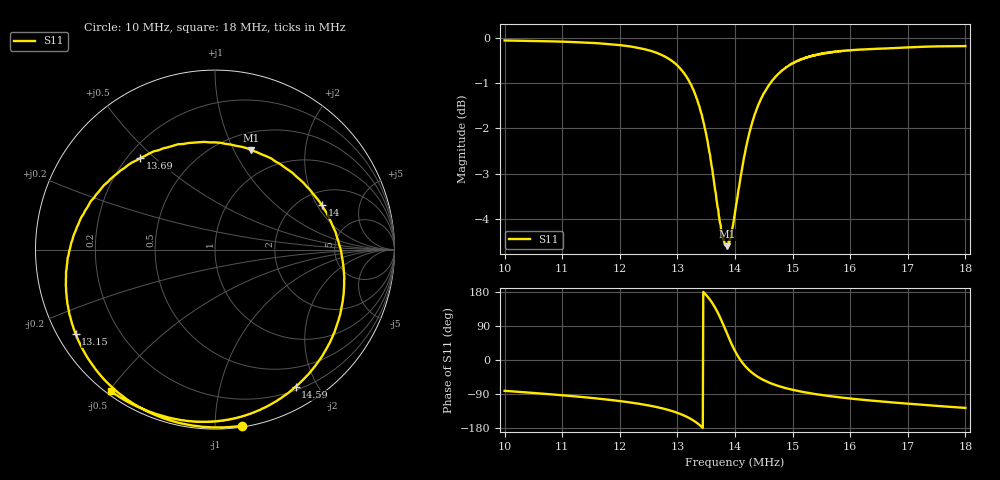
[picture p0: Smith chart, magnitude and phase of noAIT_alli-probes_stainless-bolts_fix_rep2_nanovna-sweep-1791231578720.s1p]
! NanoVNA Web complex sweep
! Processing: unaveraged complex samples; linear segment spacing; no smoothing
# Hz S RI R 50
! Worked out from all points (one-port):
!   1010 points, 10 MHz to 18 MHz, reference 50 ohm
!   lowest |S11| = -4.6 dB at 13.86 MHz (marker M1), VSWR 3.87, Z = 34.7 + j58.8 ohm
!   |S11| at or under -10 dB: nowhere
!   S11 on the Smith chart (normalised r, x): 10 MHz: 0.01, -1.16; 13.15 MHz: 0.05, -0.28; 13.69 MHz: 0.25, +0.45; 14 MHz: 2.60, +2.20; 14.59 MHz: 0.24, -1.72; 18 MHz: 0.01, -0.50
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1e7  0.1491 -0.9818
1.100698e7  -0.0538 -0.9886
1.200604e7  -0.3109 -0.9307
1.260071e7  -0.5239 -0.8096
1.282272e7  -0.6227 -0.7179
1.300509e7  -0.7103 -0.6021
1.314781e7  -0.7761 -0.4708
1.330639e7  -0.8267 -0.2605
1.346497e7  -0.8009 0.0379
1.35284e7  -0.7453 0.1798
1.358391e7  -0.6629 0.3058
1.368698e7  -0.4159 0.5103
1.37742e7  -0.1192 0.5958
1.386142e7  0.203 0.553
1.393278e7  0.4318 0.4278
1.400414e7  0.5949 0.2474
1.405965e7  0.6731 0.094
1.413101e7  0.7158 -0.0968
1.420237e7  0.7137 -0.2659
1.428959e7  0.6749 -0.434
1.442438e7  0.5775 -0.6216
1.459089e7  0.4488 -0.7652
1.478119e7  0.3143 -0.8598
1.50032e7  0.1819 -0.9191
1.546308e7  -0.0245 -0.9592
1.600225e7  -0.1952 -0.9483
1.700131e7  -0.4166 -0.8822
1.800036e7  -0.5819 -0.7873
